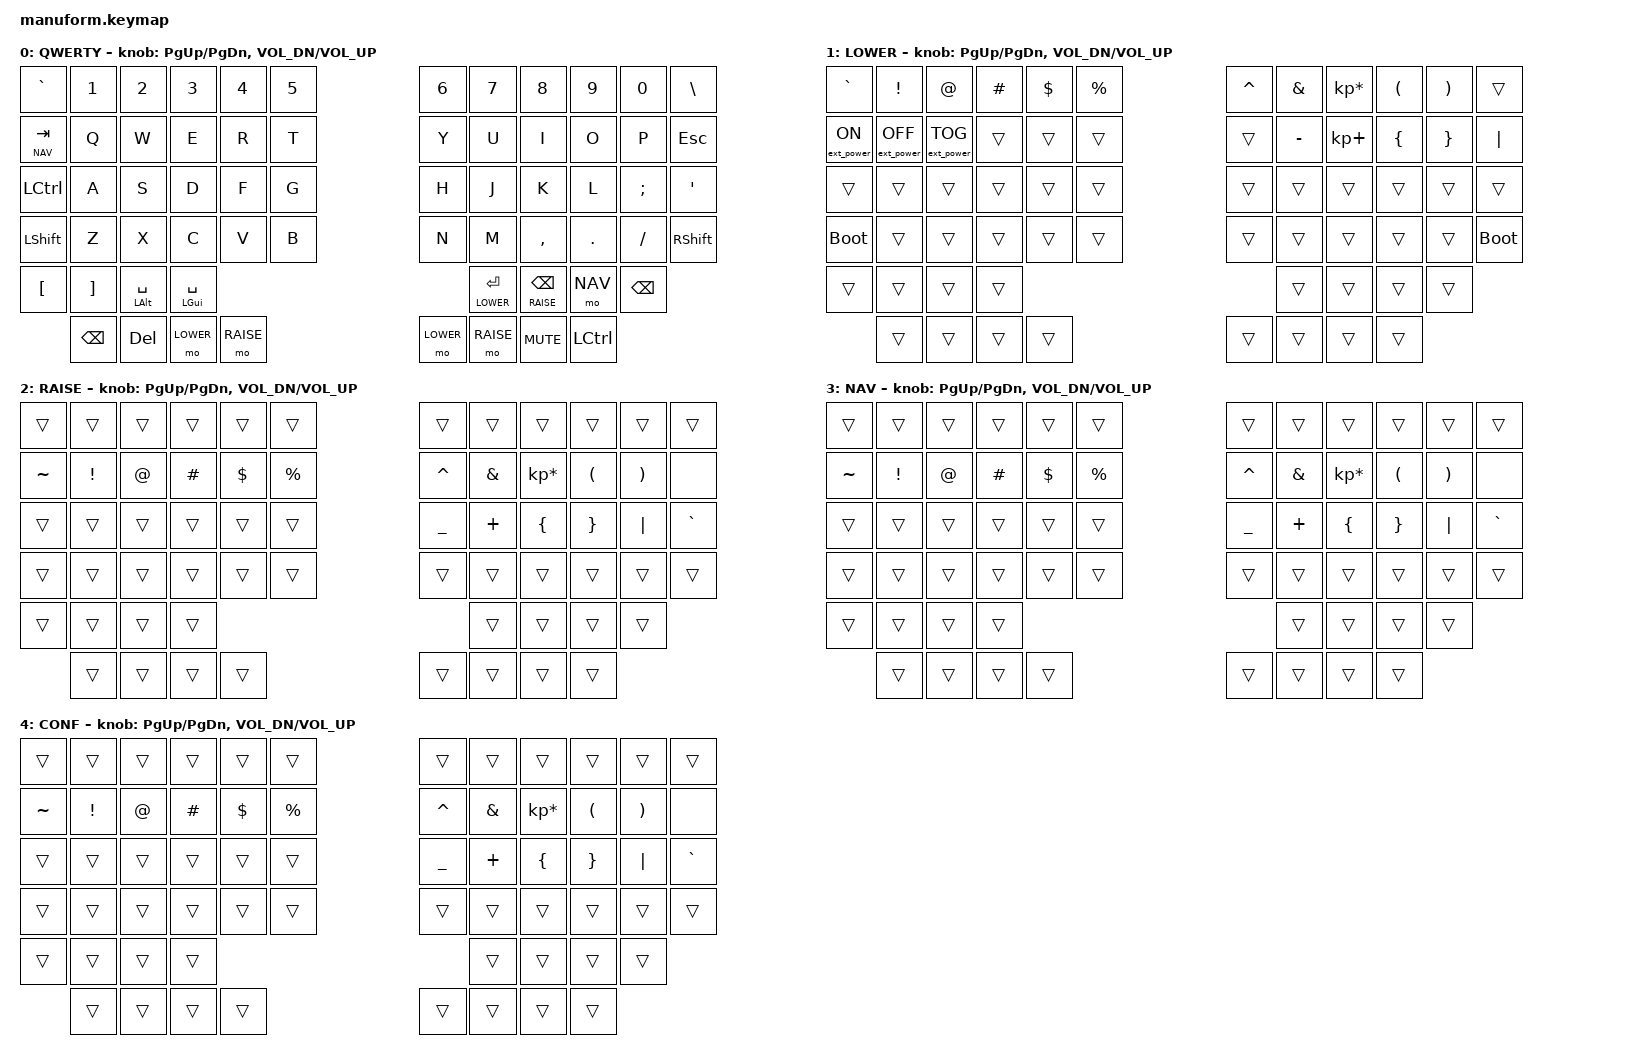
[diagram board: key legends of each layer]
/*
 * Copyright (c) 2020 The ZMK Contributors
 *
 * SPDX-License-Identifier: MIT
 */

#include <behaviors.dtsi>
#include <dt-bindings/zmk/keys.h>
#include <dt-bindings/zmk/bt.h>
#include <dt-bindings/zmk/outputs.h>
#include <dt-bindings/zmk/ext_power.h>

#define DEFAULT 0
#define LOWER   1
#define RAISE   2
#define NAV     3
#define CONFIG  4

/ {
	keymap {
		compatible = "zmk,keymap";

		default_layer {
			display-name = "QWERTY";

			bindings = <
                &kp GRAVE   &kp N1   &kp N2   &kp N3   &kp N4   &kp N5                     &kp N6   &kp N7   &kp N8    &kp N9  &kp N0   &kp BSLH
                &lt NAV TAB &kp Q    &kp W    &kp E    &kp R    &kp T                      &kp Y    &kp U    &kp I     &kp O   &kp P    &kp ESC
                &kp LCTRL   &kp A    &kp S    &kp D    &kp F    &kp G                      &kp H    &kp J    &kp K     &kp L   &kp SEMI &kp SQT
                &kp LSHFT   &kp Z    &kp X    &kp C    &kp V    &kp B                      &kp N    &kp M    &kp COMMA &kp DOT &kp FSLH &kp RSHFT
                    &kp LBKT    &kp RBKT &mt LALT SPACE &mt LGUI SPACE                     &lt LOWER RET &lt RAISE BSPC &mo NAV &kp BSPC
                            &kp BSPC    &kp DEL  &mo LOWER    &mo RAISE                    &mo LOWER  &mo RAISE &kp K_MUTE &kp LCTRL
            >;

			sensor-bindings = <&inc_dec_kp PG_UP PG_DN &inc_dec_kp C_VOL_DN C_VOL_UP>;
		};

		lower_layer {
			display-name = "LOWER";

			bindings = <
                &kp GRAVE    &kp EXCL     &kp AT       &kp HASH     &kp DOLLAR    &kp PRCNT                  &kp CARET  &kp AMPS  &kp KP_MULTIPLY  &kp LPAR  &kp RPAR  &trans
                &ext_power EP_ON  &ext_power EP_OFF  &ext_power EP_TOG  &trans &trans  &trans                &trans     &kp MINUS &kp KP_PLUS &kp LBRC &kp RBRC  &kp PIPE
                &trans            &trans             &trans             &trans &trans  &trans                &trans     &trans    &trans      &trans   &trans    &trans
                &bootloader       &trans             &trans             &trans &trans   &trans               &trans     &trans    &trans      &trans   &trans    &bootloader
                                                    &trans             &trans &trans   &trans               &trans     &trans    &trans      &trans
                                                    &trans             &trans       &trans &trans      &trans &trans    &trans  &trans
			>;

            sensor-bindings = <&inc_dec_kp PG_UP PG_DN &inc_dec_kp C_VOL_DN C_VOL_UP>;
		};

		raise_layer {
			display-name = "RAISE";

			bindings = <
                &trans    &trans    &trans   &trans    &trans    &trans                   &trans    &trans    &trans    &trans    &trans    &trans
                &kp TILDE &kp EXCL  &kp AT   &kp HASH  &kp DLLR  &kp PRCNT                &kp CARET &kp AMPS  &kp KP_MULTIPLY &kp LPAR   &kp RPAR &none
                &trans    &trans    &trans   &trans    &trans    &trans                   &kp UNDER &kp PLUS  &kp LEFT_BRACE  &kp RIGHT_BRACE &kp PIPE &kp GRAVE
                &trans    &trans    &trans   &trans    &trans    &trans                   &trans    &trans    &trans    &trans    &trans    &trans
                                      &trans &trans     &trans   &trans                   &trans    &trans    &trans    &trans
                                      &trans &trans     &trans   &trans                   &trans    &trans    &trans    &trans
			>;

            sensor-bindings = <&inc_dec_kp PG_UP PG_DN &inc_dec_kp C_VOL_DN C_VOL_UP>;
		};

        navigation_layer {
			display-name = "NAV";

			bindings = <
                &trans    &trans    &trans   &trans    &trans    &trans                   &trans    &trans    &trans    &trans    &trans    &trans
                &kp TILDE &kp EXCL  &kp AT   &kp HASH  &kp DLLR  &kp PRCNT                &kp CARET &kp AMPS  &kp KP_MULTIPLY &kp LPAR   &kp RPAR &none
                &trans    &trans    &trans   &trans    &trans    &trans                   &kp UNDER &kp PLUS  &kp LEFT_BRACE  &kp RIGHT_BRACE &kp PIPE &kp GRAVE
                &trans    &trans    &trans   &trans    &trans    &trans                   &trans    &trans    &trans    &trans    &trans    &trans
                                      &trans &trans     &trans   &trans                   &trans    &trans    &trans    &trans
                                      &trans &trans     &trans   &trans                   &trans    &trans    &trans    &trans
			>;

            sensor-bindings = <&inc_dec_kp PG_UP PG_DN &inc_dec_kp C_VOL_DN C_VOL_UP>;
		};

        configuration_layer {
			display-name = "CONF";

			bindings = <
                &trans    &trans    &trans   &trans    &trans    &trans                   &trans    &trans    &trans    &trans    &trans    &trans
                &kp TILDE &kp EXCL  &kp AT   &kp HASH  &kp DLLR  &kp PRCNT                &kp CARET &kp AMPS  &kp KP_MULTIPLY &kp LPAR   &kp RPAR &none
                &trans    &trans    &trans   &trans    &trans    &trans                   &kp UNDER &kp PLUS  &kp LEFT_BRACE  &kp RIGHT_BRACE &kp PIPE &kp GRAVE
                &trans    &trans    &trans   &trans    &trans    &trans                   &trans    &trans    &trans    &trans    &trans    &trans
                                      &trans &trans     &trans   &trans                   &trans    &trans    &trans    &trans
                                      &trans &trans     &trans   &trans                   &trans    &trans    &trans    &trans
			>;

            sensor-bindings = <&inc_dec_kp PG_UP PG_DN &inc_dec_kp C_VOL_DN C_VOL_UP>;
		};
	};
};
